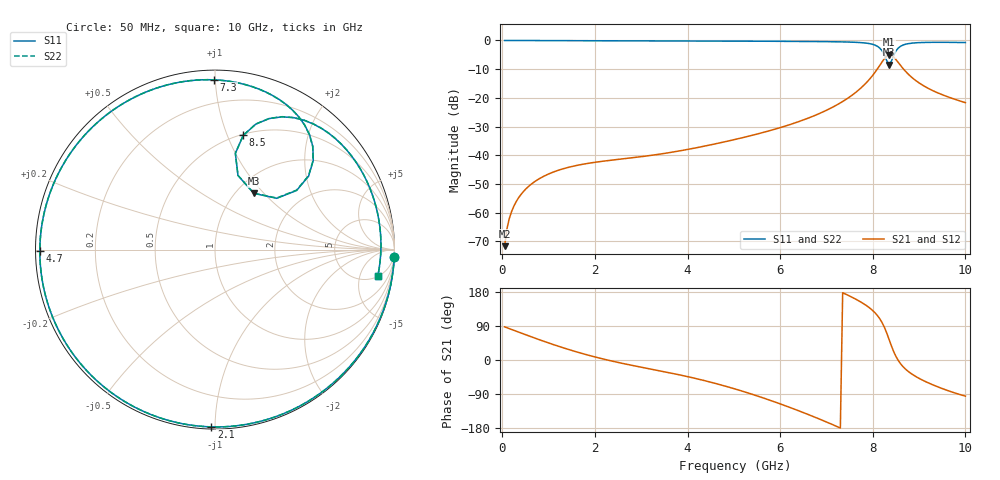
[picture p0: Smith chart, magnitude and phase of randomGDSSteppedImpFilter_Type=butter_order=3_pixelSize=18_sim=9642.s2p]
! freq	dB(S11)	phase(S11)	dB(S12)	phase(S12)
!  dB(S21)	phase(S21)	dB(S22)	phase(S22)
!S-par simulation data
#  GHz  S  DB  R 50
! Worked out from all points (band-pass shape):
!   200 points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, 50 MHz to 10 GHz, reference 50 ohm
!   highest |S21| = -5.00 dB at 8.35 GHz (marker M1); lowest = -71.7 dB at 50 MHz (marker M2)
!   |S21| within 3 dB of the highest: 8.18 GHz to 8.565 GHz (385.5 MHz wide, 4.6 % of centre)
!   lowest |S11| = -8.4 dB at 8.35 GHz (marker M3), VSWR 2.23, Z = 60 + j44 ohm
!   |S11| at or under -10 dB: nowhere
!   |S22| runs from -8.4 to 0.0 dB; largest |S21 - S12| = 0
!   S11 on the Smith chart (normalised r, x): 50 MHz: 0, -49; 2.1 GHz: 0.01, -0.98; 4.7 GHz: 0.01, -0.00; 7.3 GHz: 0.06, +0.99; 8.5 GHz: 0.51, +1.14; 10 GHz: 5, -10
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0.05  -0.00 -2.4  -71.69 87.4  -71.69 87.4  -0.00 -2.4
0.1  -0.01 -4.7  -65.64 85.1  -65.64 85.1  -0.01 -4.7
0.2  -0.01 -9.4  -59.64 80.6  -59.64 80.6  -0.01 -9.4
0.5  -0.03 -23.2  -51.89 66.9  -51.89 66.9  -0.03 -23.2
1.15  -0.07 -52.3  -45.57 38.8  -45.57 38.8  -0.07 -52.3
1.75  -0.09 -77.4  -43.10 16.3  -43.10 16.3  -0.09 -77.4
2.1  -0.10 -91.2  -42.23 5.0  -42.23 5.0  -0.10 -91.2
3.4  -0.15 -137.7  -39.62 -28.6  -39.62 -28.6  -0.15 -137.7
4.7  -0.21 -179.7  -35.69 -65.1  -35.69 -65.1  -0.21 -179.7
5.05  -0.23 169.2  -34.41 -77.3  -34.41 -77.3  -0.23 169.2
5.85  -0.29 143.2  -31.09 -109.2  -31.09 -109.2  -0.29 143.3
6.7  -0.37 113.7  -26.47 -148.4  -26.47 -148.4  -0.37 113.7
7.3  -0.48 90.3  -21.76 -179.6  -21.76 -179.6  -0.48 90.4
7.8  -0.83 66.7  -15.72 148.7  -15.72 148.7  -0.82 66.8
8.1  -2.04 46.4  -9.92 117.4  -9.92 117.4  -2.03 46.5
8.2  -3.57 38.2  -7.50 98.9  -7.50 98.9  -3.56 38.3
8.35  -8.39 55.4  -5.00 55.0  -5.00 55.0  -8.36 55.5
8.5  -3.67 76.1  -6.65 9.5  -6.65 9.5  -3.66 76.1
8.7  -1.35 59.1  -10.63 -23.3  -10.63 -23.3  -1.35 59.2
9.1  -0.70 34.4  -15.82 -54.7  -15.82 -54.7  -0.70 34.6
9.55  -0.65 12.2  -19.22 -77.7  -19.22 -77.7  -0.65 12.4
10  -0.74 -9.4  -21.68 -95.3  -21.68 -95.3  -0.73 -9.1
